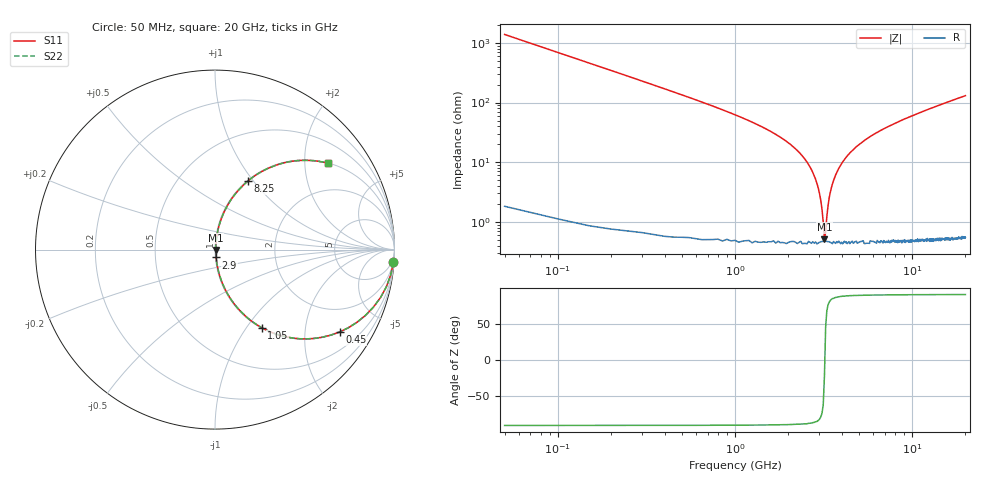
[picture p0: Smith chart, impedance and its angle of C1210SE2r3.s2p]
! AVX Thin Film Operation		Date: April 2012
! Description: Accu-P® Series, Thin Film, SMD, RF Capacitor
! Part Number: 12101J2R3QBTTR
!	100	MHz	-	20.05	GHz
!	Serial	Measurements
#	MHZ	S	MA	R	50
!	S11	S21	S12	S22
!	dB	Phase	dB	Phase	dB	Phase	dB	Phase
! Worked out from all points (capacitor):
!   400 points, 50 MHz to 20 GHz, reference 50 ohm
!   read as one part in series: C = 2.3 pF near 150 MHz
!   lowest |Z| = 514 mohm at 3.2 GHz (marker M1)
!   series resonance near 3.214 GHz, so ESL is about 1.1 nH
!   S11 on the Smith chart (normalised r, x): 50 MHz: 1, -28; 450 MHz: 1.01, -3.02; 1.05 GHz: 1.01, -1.18; 2.9 GHz: 1.01, -0.09; 8.25 GHz: 1.01, +0.94; 20 GHz: 1.01, +2.61
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50  0.997 -4.1  0.072 85.8  0.072 85.8  0.997 -4.1
100  0.989 -8.2  0.143 81.7  0.143 81.7  0.989 -8.2
200  0.96 -16.2  0.278 73.7  0.278 73.7  0.96 -16.2
450  0.832 -33.5  0.552 56.3  0.552 56.3  0.832 -33.5
1050  0.506 -59.2  0.859 30.4  0.859 30.4  0.506 -59.2
1550  0.323 -70.4  0.942 18.8  0.942 18.8  0.323 -70.4
2300  0.145 -79.9  0.985 8.3  0.985 8.3  0.145 -79.9
2650  0.083 -82.1  0.992 4.8  0.992 4.8  0.083 -82.1
2900  0.044 -81.6  0.995 2.5  0.995 2.5  0.044 -81.6
3000  0.03 -79.6  0.995 1.7  0.995 1.7  0.03 -79.6
3100  0.016 -72.9  0.995 0.9  0.995 0.9  0.016 -72.9
3200  0.004882 -22.6  0.995 0.1  0.995 0.1  0.004882 -22.6
3400  0.025 78.0  0.995 -1.4  0.995 -1.4  0.025 78.0
3700  0.061 82.3  0.994 -3.5  0.994 -3.5  0.061 82.3
4350  0.131 80.5  0.987 -7.5  0.987 -7.5  0.131 80.5
5400  0.227 75.8  0.97 -13.1  0.97 -13.1  0.227 75.8
6700  0.325 70.3  0.941 -19.0  0.941 -19.0  0.325 70.3
8250  0.423 64.4  0.902 -25.0  0.902 -25.0  0.423 64.4
10050  0.515 58.5  0.853 -31.0  0.853 -31.0  0.515 58.5
13350  0.642 49.7  0.763 -40.0  0.763 -40.0  0.642 49.7
16700  0.731 42.7  0.679 -47.0  0.679 -47.0  0.731 42.7
20000  0.792 37.4  0.607 -52.4  0.607 -52.4  0.792 37.4
